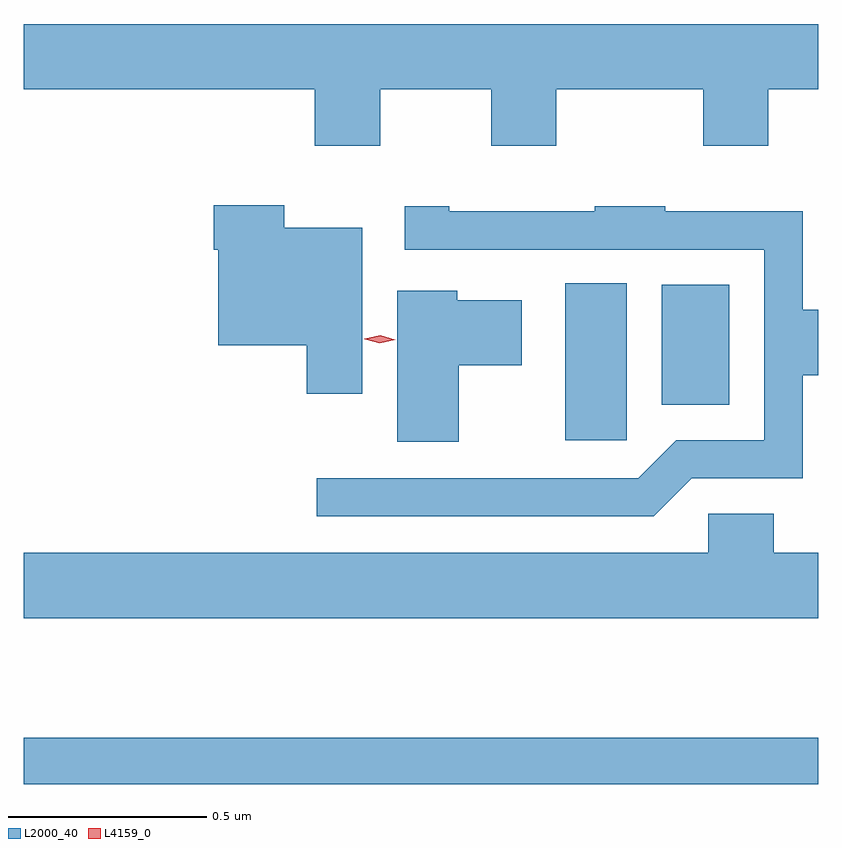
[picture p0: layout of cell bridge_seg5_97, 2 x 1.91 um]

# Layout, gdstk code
import gdstk
lib = gdstk.Library(unit=1e-6, precision=1e-09)
def R(c, l, rs):  # rectangles x0, y0, x1, y1
    for r in rs: c.add(gdstk.rectangle(r[:2], r[2:], *l))
def P(c, l, *ps):  # polygons
    for p in ps: c.add(gdstk.Polygon(p, *l))
L2000_40 = (2000, 40)
L4159_0 = (4159, 0)

bridge_seg5_97 = lib.new_cell('bridge_seg5_97')
R(bridge_seg5_97, L2000_40, [(526.048,877.654,528.048,877.771), (527.411,878.52,527.566,878.915), (527.654,878.609,527.824,878.911)])
P(bridge_seg5_97, L2000_40, [(526.945,879.404),(527.225,879.404),(527.225,879.261),(527.389,879.261),(527.389,879.404),(527.759,879.404),(527.759,879.261),(527.923,879.261),(527.923,879.404),(528.048,879.404),(528.048,879.568),(526.048,879.568),(526.048,879.404),(526.781,879.404),(526.781,879.261),(526.945,879.261)],
  [(526.9,879.055),(526.704,879.055),(526.704,879.112),(526.526,879.112),(526.526,878.999),(526.538,878.999),(526.538,878.759),(526.76,878.759),(526.76,878.637),(526.9,878.637)],
  [(527.73,878.424),(528.01,878.424),(528.01,878.684),(528.048,878.684),(528.048,878.848),(528.009,878.848),(528.009,879.097),(527.663,879.097),(527.663,879.109),(527.485,879.109),(527.485,879.097),(527.119,879.097),(527.119,879.109),(527.007,879.109),(527.007,879),(527.913,879),(527.913,878.52),(527.691,878.52),(527.595,878.424),(526.785,878.424),(526.785,878.328),(527.634,878.328)],
  [(527.143,878.708),(527.302,878.708),(527.302,878.872),(527.139,878.872),(527.139,878.896),(526.988,878.896),(526.988,878.516),(527.143,878.516)],
  [(528.048,878.236),(527.936,878.236),(527.936,878.334),(527.772,878.334),(527.772,878.236),(526.048,878.236),(526.048,878.072),(528.048,878.072)])
P(bridge_seg5_97, L4159_0, [(526.944,878.764),(526.906,878.774),(526.905,878.775),(526.906,878.775),(526.945,878.784),(526.983,878.773),(526.983,878.773),(526.983,878.773)])

lib.write_gds('bridge_seg5_97.gds')
